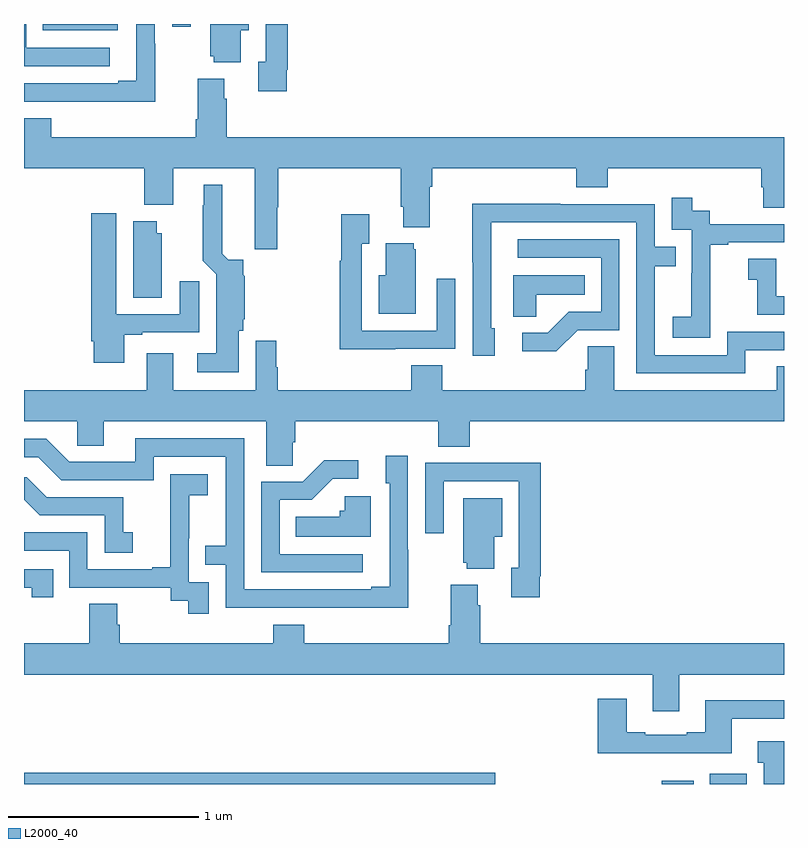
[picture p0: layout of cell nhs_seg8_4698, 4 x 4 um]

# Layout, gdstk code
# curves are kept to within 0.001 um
import gdstk
lib = gdstk.Library(unit=1e-6, precision=1e-09)
def R(c, l, rs):  # rectangles x0, y0, x1, y1
    for r in rs: c.add(gdstk.rectangle(r[:2], r[2:], *l))
def P(c, l, *ps):  # polygons
    for p in ps: c.add(gdstk.Polygon(p, *l))
L2000_40 = (2000, 40)

nhs_seg8_4698 = lib.new_cell('nhs_seg8_4698')
R(nhs_seg8_4698, L2000_40, [(395,1139.9,397.481,1139.96), (398.357,1139.9,398.524,1139.917), (398.609,1139.9,398.805,1139.953), (395.098,1143.866,395.494,1143.9), (395.781,1143.885,395.877,1143.9)])
P(nhs_seg8_4698, L2000_40, [(396.382,1143.658),(396.389,1143.658),(396.389,1143.9),(396.273,1143.9),(396.273,1143.702),(396.233,1143.702),(396.233,1143.546),(396.382,1143.546)],
  [(395.452,1143.774),(395.013,1143.774),(395.013,1143.9),(395,1143.9),(395,1143.678),(395.452,1143.678)],
  [(395.691,1143.797),(395.688,1143.797),(395.688,1143.9),(395.592,1143.9),(395.592,1143.601),(395.495,1143.601),(395.495,1143.588),(395,1143.588),(395,1143.492),(395.227,1143.492),(395.227,1143.491),(395.691,1143.491)],
  [(396.142,1143.866),(396.184,1143.866),(396.184,1143.9),(395.981,1143.9),(395.981,1143.729),(395.999,1143.729),(395.999,1143.698),(396.142,1143.698)],
  [(396.055,1143.506),(396.055,1143.613),(395.915,1143.613),(395.915,1143.4),(395.903,1143.4),(395.903,1143.304),(395.144,1143.304),(395.144,1143.403),(395,1143.403),(395,1143.14),(395.633,1143.14),(395.633,1142.948),(395.785,1142.948),(395.785,1143.14),(396.215,1143.14),(396.215,1142.715),(396.333,1142.715),(396.333,1142.936),(396.338,1142.936),(396.338,1143.14),(396.983,1143.14),(396.983,1142.938),(396.995,1142.938),(396.995,1142.831),(397.135,1142.831),(397.135,1143.044),(397.148,1143.044),(397.148,1143.14),(397.907,1143.14),(397.907,1143.041),(398.072,1143.041),(398.072,1143.14),(398.879,1143.14),(398.879,1143.042),(398.891,1143.042),(398.891,1142.932),(399,1142.932),(399,1143.304),(396.068,1143.304),(396.068,1143.506)],
  [(396.13,1142.286),(396.155,1142.286),(396.155,1142.346),(396.161,1142.346),(396.161,1142.573),(396.155,1142.579),(396.155,1142.658),(396.076,1142.658),(396.043,1142.692),(396.043,1143.055),(395.945,1143.055),(395.945,1142.945),(395.941,1142.945),(395.941,1142.654),(396.011,1142.584),(396.011,1142.167),(395.913,1142.167),(395.913,1142.066),(396.13,1142.066)],
  [(398.613,1142.455),(398.612,1142.455),(398.612,1142.739),(398.707,1142.739),(398.707,1142.751),(399,1142.751),(399,1142.847),(398.61,1142.847),(398.61,1142.916),(398.518,1142.916),(398.518,1142.986),(398.409,1142.986),(398.409,1142.817),(398.514,1142.817),(398.514,1142.588),(398.513,1142.588),(398.513,1142.359),(398.415,1142.359),(398.415,1142.249),(398.613,1142.249)],
  [(398.797,1142.184),(399,1142.184),(399,1142.28),(398.7,1142.28),(398.7,1142.157),(398.319,1142.157),(398.319,1142.626),(398.429,1142.626),(398.429,1142.727),(398.319,1142.727),(398.319,1142.952),(397.823,1142.952),(397.823,1142.954),(397.36,1142.954),(397.36,1142.647),(397.362,1142.647),(397.362,1142.154),(397.477,1142.154),(397.477,1142.298),(397.458,1142.298),(397.458,1142.856),(398.223,1142.856),(398.223,1142.061),(398.797,1142.061)],
  [(395.527,1142.265),(395.623,1142.265),(395.623,1142.277),(395.923,1142.277),(395.923,1142.545),(395.819,1142.545),(395.819,1142.373),(395.485,1142.373),(395.485,1142.905),(395.354,1142.905),(395.354,1142.23),(395.366,1142.23),(395.366,1142.118),(395.527,1142.118)],
  [(396.953,1142.19),(397.269,1142.19),(397.269,1142.56),(397.173,1142.56),(397.173,1142.286),(396.777,1142.286),(396.777,1142.743),(396.817,1142.743),(396.817,1142.899),(396.669,1142.899),(396.669,1142.654),(396.661,1142.654),(396.661,1142.189),(396.953,1142.189)],
  [(395.725,1142.799),(395.698,1142.799),(395.698,1142.863),(395.576,1142.863),(395.576,1142.458),(395.725,1142.458)],
  [(397.914,1142.289),(398.133,1142.289),(398.133,1142.766),(397.599,1142.766),(397.599,1142.67),(398.037,1142.67),(398.037,1142.385),(397.868,1142.385),(397.757,1142.274),(397.623,1142.274),(397.623,1142.177),(397.801,1142.177)],
  [(397.063,1142.715),(397.052,1142.715),(397.052,1142.746),(396.905,1142.746),(396.905,1142.578),(396.866,1142.578),(396.866,1142.375),(397.063,1142.375)],
  [(399,1142.466),(398.958,1142.466),(398.958,1142.665),(398.811,1142.665),(398.811,1142.555),(398.86,1142.555),(398.86,1142.37),(399,1142.37)],
  [(397.695,1142.474),(397.952,1142.474),(397.952,1142.578),(397.574,1142.578),(397.574,1142.359),(397.695,1142.359)],
  [(396.414,1141.699),(396.428,1141.699),(396.428,1141.808),(397.181,1141.808),(397.181,1141.675),(397.346,1141.675),(397.346,1141.808),(399,1141.808),(399,1142.099),(398.963,1142.099),(398.963,1141.972),(398.107,1141.972),(398.107,1142.204),(397.968,1142.204),(397.968,1142.081),(397.955,1142.081),(397.955,1141.972),(397.202,1141.972),(397.202,1142.105),(397.037,1142.105),(397.037,1141.972),(396.335,1141.972),(396.335,1142.094),(396.328,1142.094),(396.328,1142.233),(396.219,1142.233),(396.219,1141.972),(395.785,1141.972),(395.785,1142.167),(395.645,1142.167),(395.645,1141.972),(395,1141.972),(395,1141.808),(395.28,1141.808),(395.28,1141.681),(395.419,1141.681),(395.419,1141.808),(396.275,1141.808),(396.275,1141.576),(396.414,1141.576)],
  [(397.023,1141.133),(397.02,1141.133),(397.02,1141.627),(396.905,1141.627),(396.905,1141.482),(396.924,1141.482),(396.924,1140.937),(396.827,1140.937),(396.827,1140.924),(396.159,1140.924),(396.159,1141.719),(395.585,1141.719),(395.585,1141.596),(395.238,1141.596),(395.118,1141.716),(395,1141.716),(395,1141.62),(395.076,1141.62),(395.196,1141.5),(395.682,1141.5),(395.682,1141.623),(396.063,1141.623),(396.063,1141.154),(395.953,1141.154),(395.953,1141.053),(396.063,1141.053),(396.063,1140.828),(397.023,1140.827)],
  [(396.784,1141.11),(396.345,1141.11),(396.345,1141.395),(396.514,1141.395),(396.625,1141.506),(396.76,1141.506),(396.76,1141.604),(396.581,1141.604),(396.468,1141.491),(396.249,1141.491),(396.249,1141.014),(396.784,1141.014)],
  [(397.714,1140.994),(397.721,1140.994),(397.721,1141.592),(397.429,1141.592),(397.429,1141.59),(397.113,1141.59),(397.113,1141.221),(397.209,1141.221),(397.209,1141.494),(397.605,1141.494),(397.605,1141.038),(397.565,1141.038),(397.565,1140.882),(397.714,1140.882)],
  [(395.973,1140.963),(395.868,1140.963),(395.868,1141.193),(395.87,1141.193),(395.87,1141.421),(395.968,1141.421),(395.968,1141.531),(395.77,1141.531),(395.77,1141.325),(395.771,1141.325),(395.771,1141.042),(395.675,1141.042),(395.675,1141.029),(395.334,1141.029),(395.334,1141.224),(395,1141.224),(395,1141.128),(395.238,1141.128),(395.238,1140.933),(395.772,1140.933),(395.772,1140.865),(395.865,1140.865),(395.865,1140.795),(395.973,1140.795)],
  [(395.572,1141.225),(395.523,1141.225),(395.523,1141.41),(395.119,1141.41),(395.014,1141.515),(395,1141.515),(395,1141.396),(395.082,1141.314),(395.424,1141.314),(395.424,1141.116),(395.572,1141.116)],
  [(396.826,1141.414),(396.687,1141.414),(396.687,1141.338),(396.661,1141.338),(396.661,1141.306),(396.43,1141.306),(396.43,1141.202),(396.826,1141.202)],
  [(397.474,1141.202),(397.516,1141.202),(397.516,1141.405),(397.313,1141.405),(397.313,1141.065),(397.331,1141.065),(397.331,1141.034),(397.474,1141.034)],
  [(395.153,1141.029),(395,1141.029),(395,1140.933),(395.042,1140.933),(395.042,1140.882),(395.153,1140.882)],
  [(398.449,1140.476),(399,1140.476),(399,1140.64),(397.4,1140.64),(397.4,1140.842),(397.387,1140.842),(397.387,1140.949),(397.247,1140.949),(397.247,1140.736),(397.235,1140.736),(397.235,1140.64),(396.476,1140.64),(396.476,1140.739),(396.311,1140.739),(396.311,1140.64),(395.504,1140.64),(395.504,1140.738),(395.491,1140.738),(395.491,1140.848),(395.344,1140.848),(395.344,1140.64),(395,1140.64),(395,1140.476),(398.309,1140.476),(398.309,1140.282),(398.449,1140.282)],
  [(398.725,1140.243),(399,1140.243),(399,1140.34),(398.585,1140.34),(398.585,1140.172),(398.489,1140.172),(398.489,1140.159),(398.269,1140.159),(398.269,1140.172),(398.173,1140.172),(398.173,1140.349),(398.021,1140.349),(398.021,1140.062),(398.725,1140.062)],
  [(399,1140.124),(398.861,1140.124),(398.861,1140.011),(398.894,1140.011),(398.894,1139.9),(399,1139.9)])

lib.write_gds('nhs_seg8_4698.gds')
